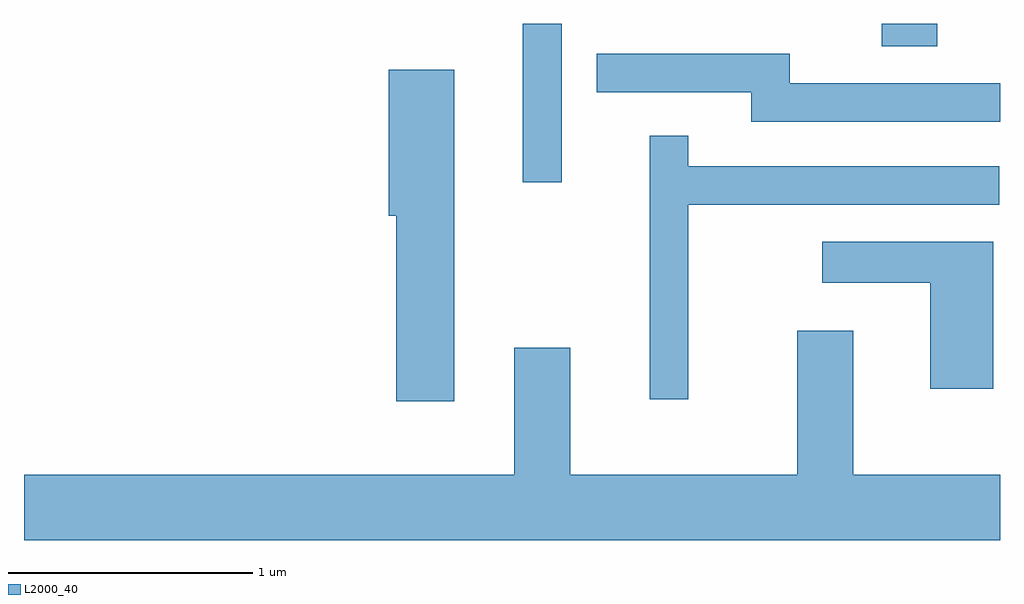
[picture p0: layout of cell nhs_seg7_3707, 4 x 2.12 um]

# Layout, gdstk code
import gdstk
lib = gdstk.Library(unit=1e-6, precision=1e-09)
def R(c, l, rs):  # rectangles x0, y0, x1, y1
    for r in rs: c.add(gdstk.rectangle(r[:2], r[2:], *l))
def P(c, l, *ps):  # polygons
    for p in ps: c.add(gdstk.Polygon(p, *l))
L2000_40 = (2000, 40)

nhs_seg7_3707 = lib.new_cell('nhs_seg7_3707')
R(nhs_seg7_3707, L2000_40, [(301.656,1673.603,301.814,1674.252), (303.126,1674.161,303.354,1674.252)])
P(nhs_seg7_3707, L2000_40, [(303.611,1674.009),(302.749,1674.009),(302.749,1674.129),(301.958,1674.129),(301.958,1673.971),(302.591,1673.971),(302.591,1673.851),(303.611,1673.851)],
  [(301.374,1674.064),(301.106,1674.064),(301.106,1673.466),(301.136,1673.466),(301.136,1672.706),(301.374,1672.706)],
  [(302.334,1673.511),(303.608,1673.511),(303.608,1673.669),(302.334,1673.669),(302.334,1673.793),(302.176,1673.793),(302.176,1672.713),(302.334,1672.713)],
  [(303.584,1673.359),(302.883,1673.359),(302.883,1673.191),(303.326,1673.191),(303.326,1672.756),(303.584,1672.756)],
  [(303.611,1672.404),(303.009,1672.404),(303.009,1672.994),(302.781,1672.994),(302.781,1672.404),(301.849,1672.404),(301.849,1672.924),(301.621,1672.924),(301.621,1672.404),(299.611,1672.404),(299.611,1672.136),(303.611,1672.136)])

lib.write_gds('nhs_seg7_3707.gds')
